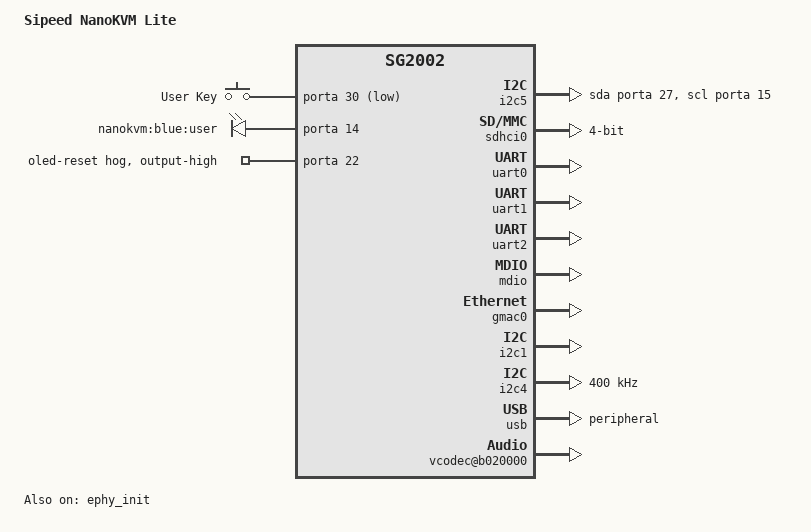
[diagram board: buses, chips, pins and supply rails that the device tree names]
// SPDX-License-Identifier: (GPL-2.0 OR MIT)
/*
 * NanoKVM Lite: LicheeRV Nano E (SG2002, 100M Ethernet, no Wi-Fi) with the
 * HDMI-to-CSI board. Pin setup follows the vendor U-Boot cvi_board_init.c.
 */

/dts-v1/;

#include "sophgo/sg2002.dtsi"

#include <dt-bindings/gpio/gpio.h>
#include <dt-bindings/input/linux-event-codes.h>

/* CSI PHY resets (bits in the 0x3003000 block) that cv18xx-reset.h does not name */
#define RST_CSIPHY0		70
#define RST_CSIPHY0RST_APB	71
#define RST_CSIPHY1		72
#define RST_CSIPHY1RST_APB	73

/ {
	model = "Sipeed NanoKVM Lite";
	compatible = "sipeed,nanokvm-lite", "sipeed,licheerv-nano-e",
		     "sipeed,licheerv-nano", "sophgo,sg2002";

	aliases {
		gpio0 = &gpio0;
		gpio1 = &gpio1;
		gpio2 = &gpio2;
		gpio3 = &gpio3;
		gpio4 = &gpio4;
		serial0 = &uart0;
		serial1 = &uart1;
		serial2 = &uart2;
		i2c1 = &i2c1;
		i2c4 = &i2c4;
		i2c5 = &i2c5;
		ethernet0 = &gmac0;
	};

	chosen {
		stdout-path = "serial0:115200n8";
	};

	reserved-memory {
		#address-cells = <1>;
		#size-cells = <1>;
		ranges;

		/* C906L firmware, as in the vendor memmap; empty until the core gets a job */
		c906l_rtos: rtos@8fe00000 {
			reg = <0x8fe00000 0x200000>;
			no-map;
		};

		/* soph_sys carveout, mapped for cached access. Size only, as on 5.10: U-Boot may */
		/* relocate the DTB into a fixed region, and soph_sys zeroes it at probe. */
		media_carveout: media {
			size = <0x4b00000>;
			alignment = <0x100000>;
			alloc-ranges = <0x80000000 0xfe00000>;
		};
	};

	gpio-keys {
		compatible = "gpio-keys";

		key-user {
			label = "User Key";
			linux,code = <KEY_DISPLAYTOGGLE>;
			debounce-interval = <10>;
			gpios = <&porta 30 GPIO_ACTIVE_LOW>;
		};
	};

	leds {
		compatible = "gpio-leds";
		pinctrl-names = "default";
		pinctrl-0 = <&user_led_cfg>;

		led-user {
			label = "nanokvm:blue:user";
			gpios = <&porta 14 GPIO_ACTIVE_HIGH>;
			linux,default-trigger = "activity";
		};
	};

	/* OLED on the Full and PCIe; probed by kvm_system */
	i2c5: i2c-gpio {
		compatible = "i2c-gpio";
		pinctrl-names = "default";
		pinctrl-0 = <&i2c5_cfg>;
		scl-gpios = <&porta 15 (GPIO_ACTIVE_HIGH | GPIO_OPEN_DRAIN)>;
		sda-gpios = <&porta 27 (GPIO_ACTIVE_HIGH | GPIO_OPEN_DRAIN)>;
		i2c-gpio,delay-us = <5>;
		#address-cells = <1>;
		#size-cells = <0>;
	};
};

&osc {
	clock-frequency = <25000000>;
};

&pinctrl {
	uart0_cfg: uart0-cfg {
		uart0-pins {
			pinmux = <PINMUX(PIN_UART0_TX, 0)>,
				 <PINMUX(PIN_UART0_RX, 0)>;
			bias-pull-up;
			drive-strength-microamp = <10800>;
			power-source = <3300>;
		};
	};

	sdhci0_cfg: sdhci0-cfg {
		sdhci0-clk-pins {
			pinmux = <PINMUX(PIN_SD0_CLK, 0)>;
			bias-pull-up;
			drive-strength-microamp = <16100>;
			power-source = <3300>;
		};

		sdhci0-cmd-pins {
			pinmux = <PINMUX(PIN_SD0_CMD, 0)>;
			bias-pull-up;
			drive-strength-microamp = <10800>;
			power-source = <3300>;
		};

		sdhci0-data-pins {
			pinmux = <PINMUX(PIN_SD0_D0, 0)>,
				 <PINMUX(PIN_SD0_D1, 0)>,
				 <PINMUX(PIN_SD0_D2, 0)>,
				 <PINMUX(PIN_SD0_D3, 0)>;
			bias-pull-up;
			drive-strength-microamp = <10800>;
			power-source = <3300>;
		};

		sdhci0-cd-pins {
			pinmux = <PINMUX(PIN_SD0_CD, 0)>;
			bias-pull-up;
			drive-strength-microamp = <10800>;
			power-source = <3300>;
		};
	};

	/* A18/A19 (JTAG pads) as UART1, A28/A29 as UART2: the two user serial ports */
	uart1_cfg: uart1-cfg {
		uart1-pins {
			pinmux = <PINMUX(PIN_JTAG_CPU_TMS, 6)>,
				 <PINMUX(PIN_JTAG_CPU_TCK, 6)>;
			power-source = <3300>;
		};
	};

	uart2_cfg: uart2-cfg {
		uart2-pins {
			pinmux = <PINMUX(PIN_IIC0_SCL, 2)>,
				 <PINMUX(PIN_IIC0_SDA, 2)>;
			power-source = <3300>;
		};
	};

	/* HDMI bridge I2C: PWR_GPIO6/8 in vendor names */
	i2c4_cfg: i2c4-cfg {
		i2c4-pins {
			pinmux = <PINMUX(PIN_PWR_WAKEUP0, 5)>,
				 <PINMUX(PIN_PWR_BUTTON1, 5)>;
			power-source = <1800>;
		};
	};

	/* A15 SCL, A27 SDA */
	i2c5_cfg: i2c5-cfg {
		i2c5-pins {
			pinmux = <PINMUX(PIN_SPK_EN, 3)>,
				 <PINMUX(PIN_EMMC_DAT3, 3)>;
			power-source = <3300>;
		};
	};

	/* RX0N as CAM_MCLK1 and PWR_GPIO1 as the bridge reset, as the vendor U-Boot sets them */
	mipi_rx_cfg: mipi-rx-cfg {
		cam-mclk1-pins {
			pinmux = <PINMUX(PIN_MIPIRX0N, 5)>;
			power-source = <1800>;
		};

		snsr-reset-pins {
			pinmux = <PINMUX(PIN_PWR_GPIO1, 0)>;
			power-source = <1800>;
		};
	};

	user_led_cfg: user-led-cfg {
		user-led-pins {
			pinmux = <PINMUX(PIN_SD0_PWR_EN, 3)>;
			power-source = <3300>;
		};
	};

	/* A22 OLED reset, A23 power key, A24 power LED, A25 reset key, A26 Wi-Fi enable */
	kvm_gpio_cfg: kvm-gpio-cfg {
		kvm-gpio-pins {
			pinmux = <PINMUX(PIN_EMMC_CLK, 3)>,
				 <PINMUX(PIN_EMMC_CMD, 3)>,
				 <PINMUX(PIN_EMMC_DAT1, 3)>,
				 <PINMUX(PIN_EMMC_DAT0, 3)>,
				 <PINMUX(PIN_EMMC_DAT2, 3)>;
			power-source = <3300>;
		};
	};
};

&gpio0 {
	pinctrl-names = "default";
	pinctrl-0 = <&kvm_gpio_cfg>;
};

&porta {
	gpio-line-names =
		"", "", "", "", "", "", "", "",
		"", "", "", "", "", "", "user-led", "i2c5-scl",
		"", "", "uart1", "uart1", "", "", "oled-reset", "atx-power",
		"atx-power-led", "atx-reset", "wifi-enable", "i2c5-sda",
		"uart2", "uart2", "user-key", "";

	/* The Full and PCIe boards' OLED stays out of reset */
	oled-reset-hog {
		gpio-hog;
		gpios = <22 GPIO_ACTIVE_HIGH>;
		output-high;
		line-name = "oled-reset";
	};
};

&portb {
	gpio-line-names =
		"", "", "", "hdmi-reset", "", "", "", "",
		"", "", "", "", "", "", "", "",
		"", "", "", "", "", "", "", "",
		"", "", "", "", "", "", "", "";
};

&sdhci0 {
	pinctrl-0 = <&sdhci0_cfg>;
	pinctrl-names = "default";
	status = "okay";
	bus-width = <4>;
	no-1-8-v;
	no-mmc;
	no-sdio;
	disable-wp;
};

&uart0 {
	pinctrl-0 = <&uart0_cfg>;
	pinctrl-names = "default";
	status = "okay";
};

&uart1 {
	pinctrl-0 = <&uart1_cfg>;
	pinctrl-names = "default";
	status = "okay";
};

&uart2 {
	pinctrl-0 = <&uart2_cfg>;
	pinctrl-names = "default";
	status = "okay";
};

&ephy_init {
	status = "okay";
};

&mdio {
	status = "okay";
};

&gmac0 {
	status = "okay";
};

/* Kept so /dev/i2c-1 exists for kvm_system; its pads stay SDIO */
&i2c1 {
	status = "okay";
};

&i2c4 {
	pinctrl-0 = <&i2c4_cfg>;
	pinctrl-names = "default";
	clock-frequency = <400000>;
	status = "okay";
};

&usb {
	dr_mode = "peripheral";
	status = "okay";
};

&tpu {
	status = "disabled";
};

/*
 * Media blocks for the osdrv modules (hardened-soph-media), from the vendor
 * soph_base.dtsi and soph_base_riscv.dtsi with mainline clock and reset IDs.
 * Vendor interrupt numbers are PLIC numbers: SOC_PERIPHERAL_IRQ(n - 16).
 */
&{/soc} {
	/* RTC-domain GPIO bank (vendor PWR_GPIO, "porte") */
	gpio4: gpio@5021000 {
		compatible = "snps,dw-apb-gpio";
		reg = <0x05021000 0x1000>;
		#address-cells = <1>;
		#size-cells = <0>;

		porte: gpio-controller@0 {
			compatible = "snps,dw-apb-gpio-port";
			gpio-controller;
			#gpio-cells = <2>;
			ngpios = <32>;
			reg = <0>;
			interrupt-controller;
			#interrupt-cells = <2>;
			interrupts = <SOC_PERIPHERAL_IRQ(54) IRQ_TYPE_LEVEL_HIGH>;
			gpio-line-names =
				"", "hdmi-bridge-reset", "", "", "", "", "", "",
				"", "", "", "", "", "", "", "",
				"", "", "", "", "", "", "", "",
				"", "", "", "", "", "", "", "";
		};
	};

	sys {
		compatible = "cvitek,sys";
		memory-region = <&media_carveout>;
	};

	base@a0c8000 {
		compatible = "cvitek,base";
		reg = <0x0a0c8000 0x20>;
		reg-names = "vip_sys";
		/* eFuse (base_uid) and the media clocks the vendor clk driver marks critical; */
		/* soph_base keeps them on while loaded. */
		clocks = <&clk CLK_EFUSE>, <&clk CLK_APB_EFUSE>,
			 <&clk CLK_CFG_REG_VIP>, <&clk CLK_VIP_IP0>, <&clk CLK_VIP_IP1>,
			 <&clk CLK_VIP_IP2>, <&clk CLK_VIP_IP3>, <&clk CLK_CSI0_RX_VIP>,
			 <&clk CLK_CSI1_RX_VIP>, <&clk CLK_CSI_BE_VIP>, <&clk CLK_RAW_VIP>,
			 <&clk CLK_OSDC_VIP>, <&clk CLK_CAM0_VIP>, <&clk CLK_PAD_VI_VIP>,
			 <&clk CLK_PAD_VI1_VIP>, <&clk CLK_PAD_VI2_VIP>, <&clk CLK_LVDS0_VIP>,
			 <&clk CLK_LVDS1_VIP>, <&clk CLK_IVE_VIP>, <&clk CLK_CAM0_200>;
	};

	cif@a0c2000 {
		compatible = "cvitek,cif";
		reg = <0x0a0c2000 0x2000>, <0x0a0d0000 0x1000>,
		      <0x0a0c4000 0x2000>, <0x0a0c6000 0x2000>,
		      <0x03001c30 0x30>;
		reg-names = "csi_mac0", "csi_wrap0", "csi_mac1", "csi_mac2", "pad_ctrl";
		interrupts = <SOC_PERIPHERAL_IRQ(10) IRQ_TYPE_LEVEL_HIGH>,
			     <SOC_PERIPHERAL_IRQ(11) IRQ_TYPE_LEVEL_HIGH>;
		interrupt-names = "csi0", "csi1";
		snsr-reset-gpios = <&porte 1 GPIO_ACTIVE_LOW>;
		resets = <&rst RST_CSIPHY0>, <&rst RST_CSIPHY1>,
			 <&rst RST_CSIPHY0RST_APB>, <&rst RST_CSIPHY1RST_APB>;
		reset-names = "phy0", "phy1", "phy-apb0", "phy-apb1";
		clocks = <&clk CLK_CAM0>, <&clk CLK_CAM1>, <&clk CLK_SRC_VIP_SYS_2>,
			 <&clk CLK_MIPIMPLL>, <&clk CLK_DISPPLL>, <&clk CLK_FPLL>;
		clock-names = "clk_cam0", "clk_cam1", "clk_sys_2",
			      "clk_mipimpll", "clk_disppll", "clk_fpll";
		pinctrl-names = "default";
		pinctrl-0 = <&mipi_rx_cfg>;
	};

	vi@a000000 {
		compatible = "cvitek,vi";
		reg = <0x0a000000 0x80000>;
		interrupts = <SOC_PERIPHERAL_IRQ(8) IRQ_TYPE_LEVEL_HIGH>;
		interrupt-names = "isp";
		clocks = <&clk CLK_SRC_VIP_SYS_0>, <&clk CLK_SRC_VIP_SYS_1>,
			 <&clk CLK_SRC_VIP_SYS_2>, <&clk CLK_SRC_VIP_SYS_3>,
			 <&clk CLK_AXI_VIP>, <&clk CLK_CSI_BE_VIP>,
			 <&clk CLK_RAW_VIP>, <&clk CLK_ISP_TOP_VIP>,
			 <&clk CLK_CSI_MAC0_VIP>, <&clk CLK_CSI_MAC1_VIP>,
			 <&clk CLK_CSI_MAC2_VIP>;
		clock-names = "clk_sys_0", "clk_sys_1", "clk_sys_2", "clk_sys_3",
			      "clk_axi", "clk_csi_be", "clk_raw", "clk_isp_top",
			      "clk_csi_mac0", "clk_csi_mac1", "clk_csi_mac2";
		clock-freq-vip-sys1 = <300000000>;
	};

	vpss@a080000 {
		compatible = "cvitek,vpss";
		reg = <0x0a080000 0x10000>, <0x0a0d1000 0x100>;
		reg-names = "sc";
		interrupts = <SOC_PERIPHERAL_IRQ(9) IRQ_TYPE_LEVEL_HIGH>;
		interrupt-names = "sc";
		clocks = <&clk CLK_SRC_VIP_SYS_0>, <&clk CLK_SRC_VIP_SYS_1>,
			 <&clk CLK_SRC_VIP_SYS_2>, <&clk CLK_IMG_D_VIP>,
			 <&clk CLK_IMG_V_VIP>, <&clk CLK_SC_TOP_VIP>,
			 <&clk CLK_SC_D_VIP>, <&clk CLK_SC_V1_VIP>,
			 <&clk CLK_SC_V2_VIP>, <&clk CLK_SC_V3_VIP>;
		clock-names = "clk_sys_0", "clk_sys_1", "clk_sys_2", "clk_img_d",
			      "clk_img_v", "clk_sc_top", "clk_sc_d", "clk_sc_v1",
			      "clk_sc_v2", "clk_sc_v3";
		clock-freq-vip-sys1 = <300000000>;
	};

	/* No display; the middleware opens /dev/cvi-vo at start-up */
	vo {
		compatible = "cvitek,vo";
		clocks = <&clk CLK_DISP_VIP>, <&clk CLK_DSI_MAC_VIP>, <&clk CLK_BT_VIP>;
		clock-names = "clk_disp", "clk_dsi", "clk_bt";
	};

	dwa@a0c0000 {
		compatible = "cvitek,dwa";
		reg = <0x0a0c0000 0x1000>;
		reg-names = "dwa";
		interrupts = <SOC_PERIPHERAL_IRQ(12) IRQ_TYPE_LEVEL_HIGH>;
		interrupt-names = "dwa";
		clocks = <&clk CLK_SRC_VIP_SYS_0>, <&clk CLK_SRC_VIP_SYS_1>,
			 <&clk CLK_SRC_VIP_SYS_2>, <&clk CLK_SRC_VIP_SYS_3>,
			 <&clk CLK_SRC_VIP_SYS_4>, <&clk CLK_DWA_VIP>;
		clock-names = "clk_sys_0", "clk_sys_1", "clk_sys_2", "clk_sys_3",
			      "clk_sys_4", "clk_dwa";
		clock-freq-vip-sys1 = <300000000>;
	};

	rgn {
		compatible = "cvitek,rgn";
	};

	vcodec@b020000 {
		compatible = "cvitek,asic-vcodec";
		reg = <0x0b020000 0x10000>, <0x0b010000 0x10000>, <0x0b030000 0x100>,
		      <0x0b058000 0x100>, <0x0b050000 0x400>;
		reg-names = "h265", "h264", "vc_ctrl", "vc_sbm", "vc_addr_remap";
		interrupts = <SOC_PERIPHERAL_IRQ(6) IRQ_TYPE_LEVEL_HIGH>,
			     <SOC_PERIPHERAL_IRQ(5) IRQ_TYPE_LEVEL_HIGH>,
			     <SOC_PERIPHERAL_IRQ(7) IRQ_TYPE_LEVEL_HIGH>;
		interrupt-names = "h265", "h264", "sbm";
		clocks = <&clk CLK_AXI_VIDEO_CODEC>,
			 <&clk CLK_H264C>, <&clk CLK_APB_H264C>,
			 <&clk CLK_H265C>, <&clk CLK_APB_H265C>,
			 <&clk CLK_VC_SRC0>, <&clk CLK_VC_SRC1>,
			 <&clk CLK_VC_SRC2>, <&clk CLK_CFG_REG_VC>;
		clock-names = "clk_axi_video_codec",
			      "clk_h264c", "clk_apb_h264c",
			      "clk_h265c", "clk_apb_h265c",
			      "clk_vc_src0", "clk_vc_src1",
			      "clk_vc_src2", "clk_cfg_reg_vc";
	};

	jpu@b000000 {
		compatible = "cvitek,asic-jpeg";
		reg = <0x0b000000 0x300>, <0x0b030000 0x100>, <0x0b058000 0x100>;
		reg-names = "jpeg", "vc_ctrl", "vc_sbm";
		interrupts = <SOC_PERIPHERAL_IRQ(4) IRQ_TYPE_LEVEL_HIGH>;
		interrupt-names = "jpeg";
		clocks = <&clk CLK_AXI_VIDEO_CODEC>,
			 <&clk CLK_JPEG>, <&clk CLK_APB_JPEG>,
			 <&clk CLK_VC_SRC0>, <&clk CLK_VC_SRC1>,
			 <&clk CLK_VC_SRC2>, <&clk CLK_CFG_REG_VC>;
		clock-names = "clk_axi_video_codec",
			      "clk_jpeg", "clk_apb_jpeg",
			      "clk_vc_src0", "clk_vc_src1",
			      "clk_vc_src2", "clk_cfg_reg_vc";
		resets = <&rst RST_JPEG>;
		reset-names = "jpeg";
	};

	cvi-vc-drv@b030000 {
		compatible = "cvitek,cvi_vc_drv";
		reg = <0x0b030000 0x100>, <0x0b058000 0x100>, <0x0b050000 0x400>;
		reg-names = "vc_ctrl", "vc_sbm", "vc_addr_remap";
	};
};
